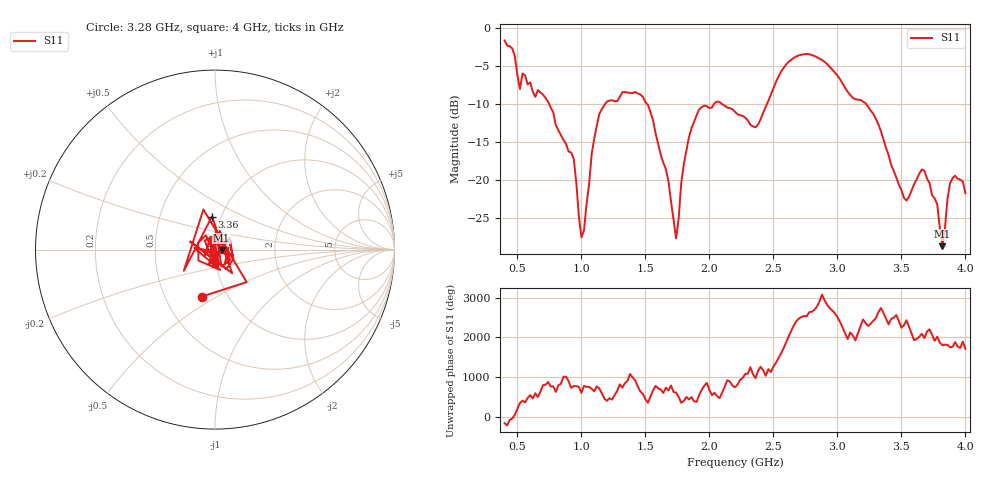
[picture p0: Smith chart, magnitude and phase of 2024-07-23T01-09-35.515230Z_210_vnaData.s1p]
!Created with skrf (http://scikit-rf.org).
# Hz S RI R 50.0
!freq ReS11 ImS11
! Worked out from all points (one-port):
!   181 points, 400 MHz to 4 GHz, reference 50 ohm
!   lowest |S11| = -28.6 dB at 3.82 GHz (marker M1), VSWR 1.08, Z = 53.8 - j0.171 ohm
!   |S11| at or under -10 dB: 747.8 MHz to 1.186 GHz (438.4 MHz wide, 45.3 % of centre); 1.513 GHz to 2.036 GHz (523.6 MHz wide, 29.5 % of centre); 3.224 GHz to end of sweep (the widest 3 of 4)
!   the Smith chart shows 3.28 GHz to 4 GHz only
!   S11 on the Smith chart (normalised r, x): 3.28 GHz: 0.76, -0.43; 3.36 GHz: 0.90, +0.35; 4 GHz: 0.98, -0.16
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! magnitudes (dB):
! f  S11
! 400 MHz  -1.7
! 480 MHz  -3.8
! 520 MHz  -8.1
! 700 MHz  -8.8
! 860 MHz  -14.7
! 940 MHz  -17.2
! 1 GHz  -27.5
! 1.14 GHz  -11.3
! 1.3 GHz  -9.1
! 1.52 GHz  -10.1
! 1.66 GHz  -18.5
! 1.74 GHz  -27.6
! 1.76 GHz  -25.0
! 1.8 GHz  -17.9
! 1.92 GHz  -10.7
! 2.2 GHz  -11.0
! 2.36 GHz  -13.1
! 2.66 GHz  -3.9
! 2.88 GHz  -4.2
! 3.1 GHz  -8.8
! 3.28 GHz  -11.3
! 3.36 GHz  -14.7
! 3.56 GHz  -22.2
! 3.68 GHz  -18.8
! 3.78 GHz  -23.2
! 3.82 GHz  -28.6
! 3.88 GHz  -20.4
! 4 GHz  -21.7
